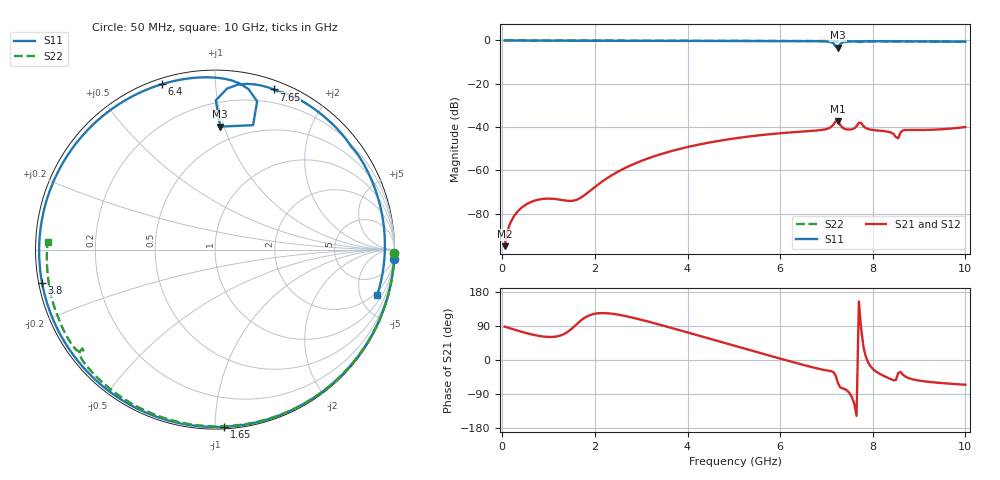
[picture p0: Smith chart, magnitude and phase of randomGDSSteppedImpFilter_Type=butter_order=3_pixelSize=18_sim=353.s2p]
! freq	dB(S11)	phase(S11)	dB(S12)	phase(S12)
!  dB(S21)	phase(S21)	dB(S22)	phase(S22)
!S-par simulation data
#  GHz  S  DB  R 50
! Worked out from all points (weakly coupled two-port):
!   200 points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, 50 MHz to 10 GHz, reference 50 ohm
!   highest |S21| = -37.31 dB at 7.25 GHz (marker M1); lowest = -95.0 dB at 50 MHz (marker M2)
!   lowest |S11| = -3.3 dB at 7.25 GHz (marker M3), VSWR 5.36, Z = 18.8 + j48.5 ohm
!   |S11| at or under -10 dB: nowhere
!   |S22| runs from -0.7 to 0.0 dB; largest |S21 - S12| = 0
!   S11 on the Smith chart (normalised r, x): 50 MHz: 0, -40; 1.65 GHz: 0.01, -1.05; 3.8 GHz: 0.01, -0.10; 6.4 GHz: 0.03, +0.73; 7.65 GHz: 0.08, +1.43; 10 GHz: 1.62, -6.92
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0.05  -0.00 -2.9  -95.04 88.2  -95.04 88.2  -0.00 -1.1
0.3  -0.03 -17.1  -79.81 78.7  -79.81 78.7  -0.01 -6.3
0.55  -0.04 -31.0  -75.35 70.1  -75.35 70.1  -0.02 -11.4
0.9  -0.06 -49.9  -73.16 61.7  -73.16 61.7  -0.02 -18.7
1.65  -0.10 -87.0  -73.19 99.4  -73.19 99.4  -0.04 -33.9
1.75  -0.10 -91.5  -71.87 109.1  -71.87 109.1  -0.05 -35.9
2.5  -0.13 -122.9  -60.60 119.7  -60.60 119.7  -0.07 -50.7
3.4  -0.15 -155.6  -52.68 93.2  -52.68 93.2  -0.09 -67.9
3.8  -0.16 -169.0  -50.28 79.6  -50.28 79.6  -0.10 -75.3
5.05  -0.21 151.2  -45.15 36.2  -45.15 36.2  -0.15 -97.7
6.4  -0.28 107.7  -42.21 -9.7  -42.21 -9.7  -0.22 -120.8
6.7  -0.32 97.1  -41.76 -19.3  -41.76 -19.3  -0.25 -125.8
7.15  -1.32 74.1  -38.88 -32.1  -38.88 -32.1  -0.28 -133.4
7.25  -3.28 87.6  -37.31 -61.7  -37.31 -61.7  -0.29 -135.2
7.35  -0.91 85.7  -40.34 -75.0  -40.34 -75.0  -0.30 -136.9
7.65  -0.44 69.9  -39.62 -147.4  -39.62 -147.4  -0.49 -143.0
7.7  -0.46 68.2  -37.97 154.5  -37.97 154.5  -0.71 -143.3
7.9  -0.36 60.5  -40.93 -6.4  -40.93 -6.4  -0.40 -144.9
8.35  -0.38 43.8  -42.26 -48.3  -42.26 -48.3  -0.40 -153.1
8.55  -0.43 36.8  -45.16 -34.2  -45.16 -34.2  -0.43 -156.5
8.7  -0.39 31.3  -41.37 -43.4  -41.37 -43.4  -0.43 -159.1
10  -0.55 -15.6  -40.01 -65.3  -40.01 -65.3  -0.60 177.4
